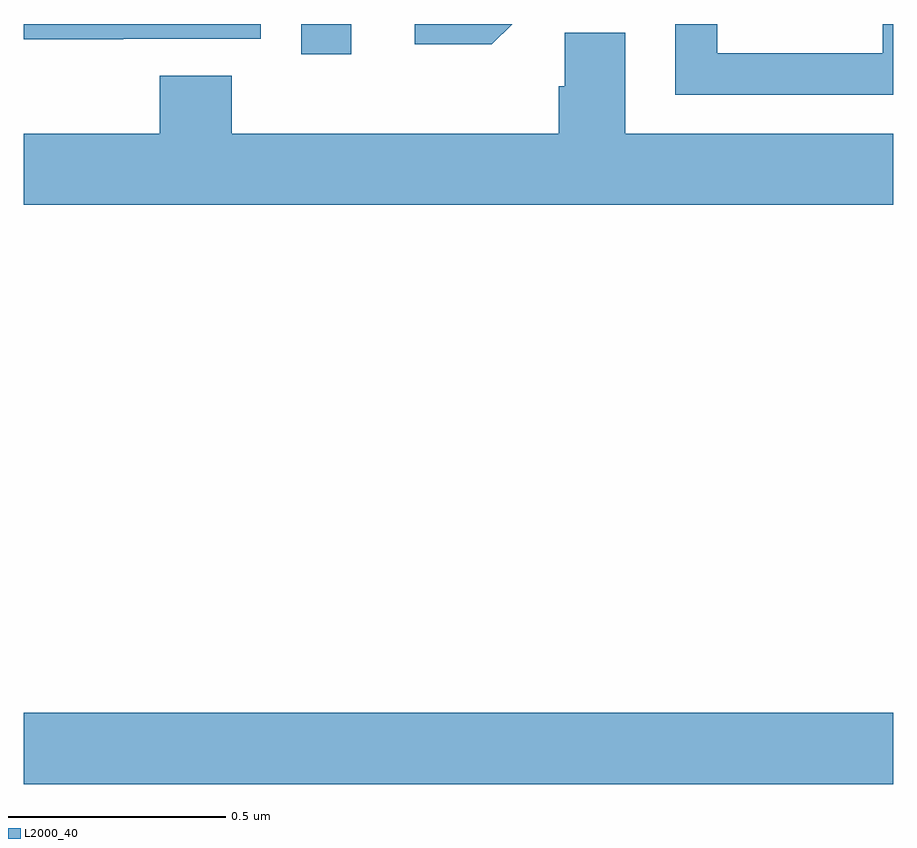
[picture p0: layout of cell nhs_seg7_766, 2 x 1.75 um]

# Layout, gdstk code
import gdstk
lib = gdstk.Library(unit=1e-6, precision=1e-09)
def R(c, l, rs):  # rectangles x0, y0, x1, y1
    for r in rs: c.add(gdstk.rectangle(r[:2], r[2:], *l))
def P(c, l, *ps):  # polygons
    for p in ps: c.add(gdstk.Polygon(p, *l))
L2000_40 = (2000, 40)

nhs_seg7_766 = lib.new_cell('nhs_seg7_766')
R(nhs_seg7_766, L2000_40, [(121,1031.252,123,1031.416), (121.638,1032.93,121.753,1033)])
P(nhs_seg7_766, L2000_40, [(123,1033),(122.976,1033),(122.976,1032.933),(122.595,1032.933),(122.595,1033),(122.499,1033),(122.499,1032.837),(123,1032.837)],
  [(122.124,1033),(121.899,1033),(121.899,1032.953),(122.077,1032.953)],
  [(121.229,1032.966),(121.545,1032.966),(121.545,1033),(121,1033),(121,1032.965),(121.229,1032.965)],
  [(123,1032.748),(122.383,1032.748),(122.383,1032.98),(122.244,1032.98),(122.244,1032.857),(122.231,1032.857),(122.231,1032.748),(121.478,1032.748),(121.478,1032.881),(121.313,1032.881),(121.313,1032.748),(121,1032.748),(121,1032.584),(123,1032.584)])

lib.write_gds('nhs_seg7_766.gds')
